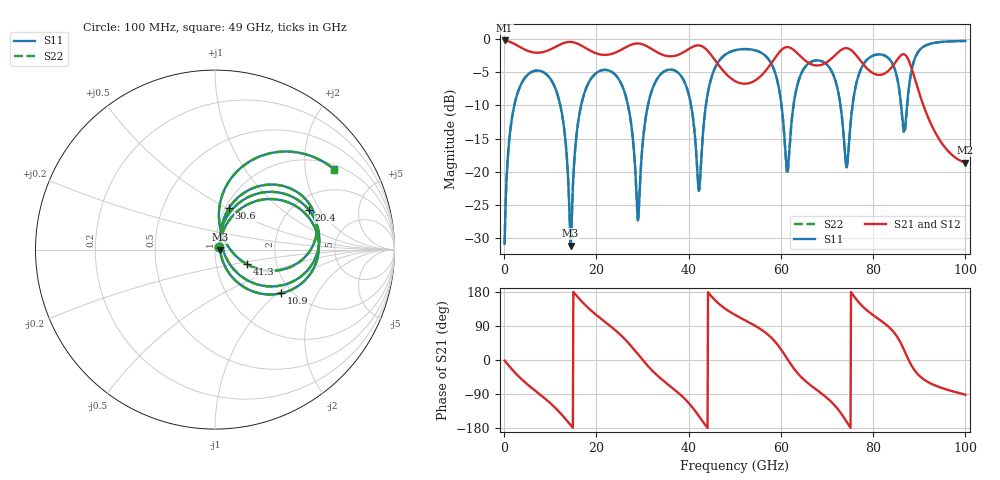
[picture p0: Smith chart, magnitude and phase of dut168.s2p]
! Touchstone file exported from HFSS 2026.1.0
!  File:  C:/ffzhzh/LocalFiles/Ansys_Project_Files/temp_train_TSV_RDL_168_1783650001_26216.aedt
!  Generated:  10:30:26 AM Jul 10, 2026
!  Design:  TSV_RDL
!  Project:  temp_train_TSV_RDL_168_1783650001_26216
! Variables:
!  h_bsmrdl = 2.81um
!  h_ox = 20um
!  h_rdl = 5um
!  h_sub = 52.05um
!  h_tmrdl = 4.7um
!  h_tsv = 52.05um
!  h_via = 3um
!  l_bsmrdl = 668.44um
!  l_sub = 4137.94um
!  l_tmrdl = 407.76um
!  m_sub = 200um
!  pitch = 50.39um
!  r_tsv = 12.26um
!  s_tmrdl = 10um
!  w_bsmrdl = 23.54um
!  w_sub = 500um
!  w_tmrdl = 10.32um
!  x_tsv_center1 = 412.92um
!  x_tsv_center2 = 1104.9um
!  x_tsv_center3 = 1522.98um
!  x_tsv_center4 = 2214.96um
!  x_tsv_center5 = 2633.04um
!  x_tsv_center6 = 3325.02um
# GHz S MA R 50.000000
! Terminal data exported
! Port[1] = TM_RDL1_1_T1
! Port[2] = TM_RDL5_1_T1
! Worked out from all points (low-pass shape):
!   1000 points, 100 MHz to 100 GHz, reference 50 ohm
!   highest |S21| = -0.20 dB at 100 MHz (marker M1); lowest = -18.6 dB at 100 GHz (marker M2)
!   |S21| within 3 dB of the highest: start of sweep to 45.75 GHz; 58.35 GHz to 65.21 GHz (6.858 GHz wide, 11.1 % of centre) (the widest 2 of 4)
!   lowest |S11| = -31.1 dB at 14.4 GHz (marker M3), VSWR 1.06, Z = 52.9 - j0.0861 ohm
!   |S11| at or under -10 dB: 12.18 GHz to 16.68 GHz (4.506 GHz wide, 31.2 % of centre); 26.86 GHz to 31.17 GHz (4.307 GHz wide, 14.8 % of centre); 40.53 GHz to 43.73 GHz (3.205 GHz wide, 7.61 % of centre) (the widest 3 of 7)
!   |S22| runs from -31.2 to -0.3 dB; largest |S21 - S12| = 1.7e-14
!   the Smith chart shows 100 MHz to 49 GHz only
!   S11 on the Smith chart (normalised r, x): 100 MHz: 1.05, +0.03; 10.9 GHz: 1.76, -1.06; 20.4 GHz: 2.46, +1.60; 30.6 GHz: 1.04, +0.51; 41.3 GHz: 1.41, -0.24; 49 GHz: 1.15, +2.87
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0.1  0.02866 34.6  0.9767 -1.5  0.9767 -1.5  0.02866 34.6
! Gamma 0 0 0 0
! Port Impedance 50 0 50 0
3.2  0.4188 42.3  0.8805 -44.0  0.8805 -44.0  0.4188 42.3
10.9  0.4415 -33.5  0.865 -124.1  0.865 -124.1  0.4415 -33.5
14.4  0.02775 -1.7  0.9518 -171.5  0.9518 -171.5  0.02746 -1.8
16.8  0.3296 59.3  0.8913 154.8  0.8913 154.8  0.3295 59.4
20.4  0.5679 22.8  0.7725 114.7  0.7725 114.7  0.5678 22.9
26.2  0.3887 -31.9  0.8614 54.6  0.8614 54.6  0.3887 -31.7
29  0.04292 10.0  0.9273 15.2  0.9273 15.2  0.04392 10.2
30.6  0.2437 71.5  0.8961 -8.2  0.8961 -8.2  0.2439 71.2
33.4  0.5153 43.8  0.7877 -42.9  0.7877 -42.9  0.5155 43.6
41.3  0.1959 -24.5  0.887 -132.6  0.887 -132.6  0.1961 -24.7
42.3  0.07305 39.4  0.896 -149.3  0.896 -149.3  0.07286 39.1
49  0.801 33.9  0.5117 126.7  0.5117 126.7  0.801 33.8
50.1  0.8248 26.8  0.4818 118.8  0.4818 118.8  0.8248 26.6
58.1  0.6357 -27.5  0.6719 56.7  0.6719 56.7  0.6354 -27.9
61.3  0.1038 -7.2  0.8703 4.6  0.8703 4.6  0.09819 -8.1
66.7  0.6781 18.6  0.6436 -69.2  0.6436 -69.2  0.6777 18.9
74.7  0.1525 53.2  0.8471 -171.3  0.8471 -171.3  0.1554 52.0
77.4  0.5992 47.9  0.6761 145.4  0.6761 145.4  0.5996 47.5
83.4  0.714 1.5  0.5807 87.1  0.5807 87.1  0.7133 0.9
87.2  0.2737 51.0  0.7439 13.1  0.7439 13.1  0.264 52.6
100  0.968 -2.8  0.1171 -91.6  0.1171 -91.6  0.9677 -2.6
